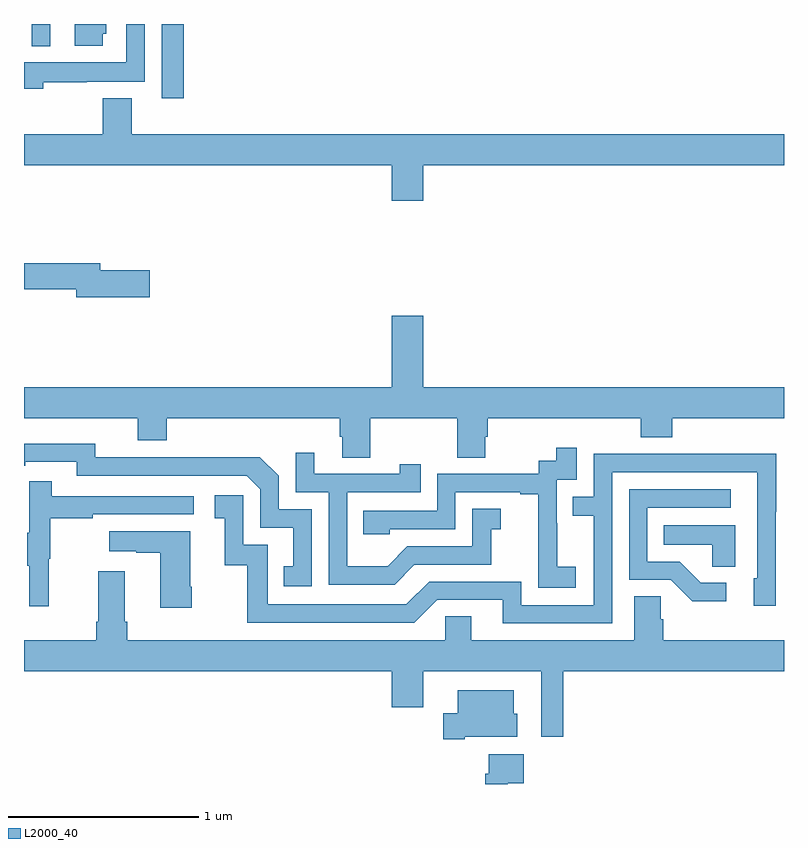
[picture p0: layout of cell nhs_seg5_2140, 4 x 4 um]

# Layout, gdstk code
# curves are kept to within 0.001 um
import gdstk
lib = gdstk.Library(unit=1e-6, precision=1e-09)
def R(c, l, rs):  # rectangles x0, y0, x1, y1
    for r in rs: c.add(gdstk.rectangle(r[:2], r[2:], *l))
def P(c, l, *ps):  # polygons
    for p in ps: c.add(gdstk.Polygon(p, *l))
L2000_40 = (2000, 40)

nhs_seg5_2140 = lib.new_cell('nhs_seg5_2140')
R(nhs_seg5_2140, L2000_40, [(235.725,894.408,235.841,894.799), (235.041,894.683,235.138,894.799)])
P(nhs_seg5_2140, L2000_40, [(235.414,894.747),(235.432,894.747),(235.432,894.799),(235.268,894.799),(235.268,894.684),(235.414,894.684)],
  [(235.1,894.492),(235.331,894.492),(235.331,894.494),(235.635,894.494),(235.635,894.799),(235.539,894.799),(235.539,894.598),(235,894.598),(235,894.458),(235.1,894.458)],
  [(237.1,894.056),(239,894.056),(239,894.22),(235.567,894.22),(235.567,894.409),(235.415,894.409),(235.415,894.22),(235,894.22),(235,894.056),(236.936,894.056),(236.936,893.868),(237.1,893.868)],
  [(235.663,893.504),(235.402,893.504),(235.402,893.54),(235,893.54),(235,893.404),(235.274,893.404),(235.274,893.362),(235.663,893.362)],
  [(236.823,892.724),(237.28,892.724),(237.28,892.516),(237.427,892.516),(237.427,892.626),(237.44,892.626),(237.44,892.724),(238.247,892.724),(238.247,892.625),(238.412,892.625),(238.412,892.724),(239,892.724),(239,892.888),(237.1,892.888),(237.1,893.263),(236.936,893.263),(236.936,892.888),(235,892.888),(235,892.724),(235.598,892.724),(235.598,892.607),(235.751,892.607),(235.751,892.724),(236.663,892.724),(236.663,892.626),(236.675,892.626),(236.675,892.516),(236.823,892.516)],
  [(236.514,892.245),(236.34,892.245),(236.34,892.422),(236.242,892.52),(235.834,892.52),(235.834,892.518),(235.374,892.518),(235.374,892.591),(235,892.59),(235,892.474),(235.006,892.474),(235.006,892.494),(235.278,892.494),(235.278,892.422),(236.172,892.422),(236.244,892.35),(236.244,892.149),(236.417,892.149),(236.417,891.945),(236.368,891.945),(236.368,891.84),(236.514,891.84)],
  [(237.904,891.943),(237.806,891.943),(237.806,892.172),(237.804,892.172),(237.804,892.401),(237.909,892.401),(237.909,892.57),(237.801,892.57),(237.801,892.5),(237.708,892.5),(237.708,892.431),(237.174,892.431),(237.174,892.236),(236.785,892.236),(236.785,892.113),(236.925,892.113),(236.925,892.14),(237.27,892.14),(237.27,892.335),(237.611,892.335),(237.611,892.323),(237.707,892.323),(237.707,892.039),(237.706,892.039),(237.706,891.833),(237.904,891.833)],
  [(237.055,891.954),(237.459,891.954),(237.459,892.139),(237.508,892.139),(237.508,892.249),(237.36,892.249),(237.36,892.05),(237.018,892.05),(236.914,891.946),(236.7,891.946),(236.7,892.335),(237.089,892.335),(237.089,892.483),(236.978,892.483),(236.978,892.431),(236.527,892.431),(236.527,892.543),(236.43,892.543),(236.43,892.335),(236.604,892.335),(236.604,891.849),(236.95,891.849)],
  [(238.095,892.44),(238.86,892.44),(238.86,891.882),(238.841,891.882),(238.841,891.738),(238.956,891.738),(238.956,892.231),(238.959,892.231),(238.959,892.538),(238.495,892.538),(238.495,892.536),(237.999,892.536),(237.999,892.311),(237.889,892.311),(237.889,892.21),(237.999,892.21),(237.999,891.741),(237.618,891.741),(237.618,891.864),(237.132,891.864),(237.012,891.744),(236.283,891.744),(236.283,892.059),(236.154,892.059),(236.154,892.318),(236.004,892.318),(236.004,892.197),(236.057,892.197),(236.057,891.951),(236.175,891.951),(236.175,891.648),(237.054,891.648),(237.174,891.768),(237.521,891.768),(237.521,891.645),(238.095,891.645)],
  [(235.13,891.984),(235.138,891.984),(235.138,892.198),(235.361,892.198),(235.361,892.218),(235.894,892.218),(235.894,892.314),(235.145,892.314),(235.145,892.393),(235.028,892.393),(235.028,892.121),(235.017,892.121),(235.017,891.947),(235.028,891.947),(235.028,891.735),(235.13,891.735)],
  [(238.696,891.858),(238.561,891.858),(238.45,891.969),(238.281,891.969),(238.281,892.254),(238.72,892.254),(238.72,892.35),(238.185,892.35),(238.185,891.873),(238.404,891.873),(238.517,891.761),(238.696,891.761)],
  [(238.744,892.162),(238.366,892.162),(238.366,892.058),(238.623,892.058),(238.623,891.943),(238.744,891.943)],
  [(235.884,891.838),(235.876,891.838),(235.876,892.129),(235.449,892.129),(235.449,892.025),(235.592,892.025),(235.592,892.015),(235.718,892.015),(235.718,891.726),(235.884,891.726)],
  [(237.839,891.392),(239,891.392),(239,891.556),(238.364,891.556),(238.364,891.665),(238.35,891.665),(238.35,891.788),(238.211,891.788),(238.211,891.556),(237.355,891.556),(237.355,891.683),(237.216,891.683),(237.216,891.556),(235.544,891.556),(235.544,891.652),(235.531,891.652),(235.531,891.919),(235.391,891.919),(235.391,891.652),(235.379,891.652),(235.379,891.556),(235,891.556),(235,891.392),(236.936,891.392),(236.936,891.204),(237.1,891.204),(237.1,891.392),(237.723,891.392),(237.723,891.048),(237.839,891.048)],
  [(237.319,891.047),(237.595,891.047),(237.595,891.168),(237.577,891.168),(237.577,891.292),(237.284,891.292),(237.284,891.172),(237.207,891.172),(237.207,891.035),(237.319,891.035)],
  [(237.545,890.804),(237.631,890.804),(237.631,890.956),(237.447,890.956),(237.447,890.852),(237.427,890.852),(237.427,890.799),(237.545,890.799)])

lib.write_gds('nhs_seg5_2140.gds')
